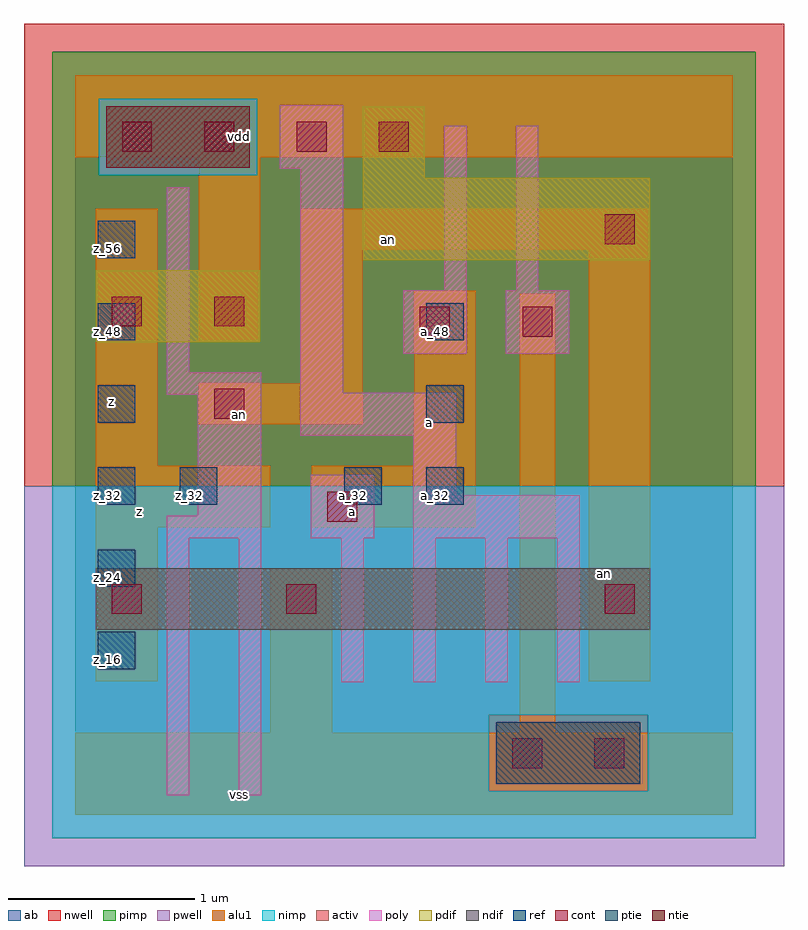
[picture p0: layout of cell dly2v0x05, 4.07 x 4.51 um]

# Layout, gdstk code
import gdstk
lib = gdstk.Library(unit=1e-6, precision=2.5e-09)
def R(c, l, rs):  # rectangles x0, y0, x1, y1
    for r in rs: c.add(gdstk.rectangle(r[:2], r[2:], *l))
def A(c, l, x, y, w, h, nx, ny, dx, dy):  # array of equal rectangles
    R(c, l, [(x+i*dx, y+j*dy, x+i*dx+w, y+j*dy+h) for i in range(nx) for j in range(ny)])
ndif = (3, 0)
pdif = (4, 0)
ntie = (5, 0)
ptie = (6, 0)
ref = (24, 0)
cont = (25, 0)
pwell = (41, 0)
nwell = (42, 0)
activ = (43, 0)
pimp = (44, 0)
nimp = (45, 0)
poly = (46, 0)
alu1 = (49, 0)
ab = (63, 0)

dly2v0x05 = lib.new_cell('dly2v0x05')
R(dly2v0x05, ndif, [(0.11,0.99,3.08,1.32)])
R(dly2v0x05, pdif, [(0.11,2.53,0.99,2.915), (1.54,2.97,3.08,3.41), (1.54,3.41,1.87,3.795)])
R(dly2v0x05, ntie, [(0.165,3.465,0.935,3.795)])
R(dly2v0x05, ptie, [(2.255,0.165,3.025,0.495)])
A(dly2v0x05, ref, 0.12, 0.78, 0.2, 0.2, 1, 6, 0, 0.44)
A(dly2v0x05, ref, 1.88, 1.66, 0.2, 0.2, 1, 3, 0, 0.44)
R(dly2v0x05, ref, [(0.56,1.66,0.76,1.86), (1.44,1.66,1.64,1.86)])
R(dly2v0x05, cont, [(2.34,0.25,2.5,0.41), (2.78,0.25,2.94,0.41), (0.195,1.075,0.355,1.235), (1.13,1.075,1.29,1.235), (2.835,1.075,2.995,1.235), (1.35,1.57,1.51,1.73), (0.745,2.12,0.905,2.28), (1.845,2.56,2.005,2.72), (2.395,2.56,2.555,2.72), (0.195,2.615,0.355,2.775), (0.745,2.615,0.905,2.775), (2.835,3.055,2.995,3.215), (0.25,3.55,0.41,3.71), (0.69,3.55,0.85,3.71), (1.185,3.55,1.345,3.71), (1.625,3.55,1.785,3.71)])
R(dly2v0x05, pwell, [(-0.275,-0.275,3.795,1.76)])
R(dly2v0x05, nwell, [(-0.275,1.76,3.795,4.235)])
R(dly2v0x05, activ, [(2.255,0.165,3.025,0.495), (0.11,0.99,3.08,1.32), (0.11,2.53,0.99,2.915), (1.54,2.97,3.08,3.41), (1.54,3.41,1.87,3.795), (0.165,3.465,0.935,3.795)])
R(dly2v0x05, pimp, [(2.215,0.125,3.065,0.535), (-0.125,1.76,3.645,3.425), (-0.125,3.425,0.125,3.835), (0.975,3.425,3.645,3.835), (-0.125,3.835,3.645,4.085)])
R(dly2v0x05, nimp, [(-0.125,-0.125,3.645,0.125), (-0.125,0.125,2.215,0.535), (3.065,0.125,3.645,0.535), (-0.125,0.535,3.645,1.76), (0.125,3.425,0.975,3.835)])
A(dly2v0x05, poly, 1.425, 0.71, 0.12, 0.77, 4, 1, 0.385, 0)
R(dly2v0x05, poly, [(0.49,0.105,0.61,1.48), (0.875,0.105,0.995,1.48), (0.49,1.48,0.995,1.6), (1.26,1.48,1.6,1.82), (1.81,1.48,2.7,1.71), (0.655,1.6,0.995,2.25), (1.81,1.71,2.04,2.03), (1.205,2.03,2.04,2.26), (0.49,2.25,0.995,2.37), (1.205,2.26,1.435,3.46), (0.49,2.37,0.61,3.36), (1.755,2.47,2.095,2.81), (2.305,2.47,2.645,2.81), (1.975,2.81,2.095,3.69), (2.36,2.81,2.48,3.69), (1.095,3.46,1.435,3.8)])
R(dly2v0x05, alu1, [(0,0,3.52,0.44), (1.045,0.44,1.375,1.32), (2.38,0.44,2.57,2.79), (0.11,0.715,0.44,1.54), (2.75,0.715,3.08,3.025), (0.11,1.54,1.045,1.87), (1.265,1.54,2.145,1.87), (0.11,1.87,0.44,3.245), (1.815,1.87,2.145,2.805), (0.66,2.09,1.54,2.31), (1.21,2.31,1.54,3.025), (0.66,2.53,0.99,3.52), (1.21,3.025,3.08,3.245), (0,3.52,3.52,3.96)])
R(dly2v0x05, ab, [(0,0,3.52,3.96)])
dly2v0x05.add(gdstk.Label('vss', (0.88,0.11), layer=49, texttype=0))
dly2v0x05.add(gdstk.Label('an', (2.8325,1.2925), layer=49, texttype=0))
dly2v0x05.add(gdstk.Label('a', (1.485,1.6225), layer=49, texttype=0))
dly2v0x05.add(gdstk.Label('z', (0.3425,1.6225), layer=49, texttype=0))
dly2v0x05.add(gdstk.Label('a', (1.8975,2.1025), layer=49, texttype=0))
dly2v0x05.add(gdstk.Label('an', (0.88,2.145), layer=49, texttype=0))
dly2v0x05.add(gdstk.Label('an', (1.6775,3.08), layer=49, texttype=0))
dly2v0x05.add(gdstk.Label('z', (0.1925,2.2125), layer=49, texttype=0))
dly2v0x05.add(gdstk.Label('vdd', (0.88,3.63), layer=49, texttype=0))
dly2v0x05.add(gdstk.Label('z_32', (0.61,1.71), layer=24, texttype=0))
dly2v0x05.add(gdstk.Label('a_32', (1.49,1.71), layer=24, texttype=0))
dly2v0x05.add(gdstk.Label('a_32', (1.93,1.71), layer=24, texttype=0))
dly2v0x05.add(gdstk.Label('a_40', (1.93,2.15), layer=24, texttype=0))
dly2v0x05.add(gdstk.Label('a_48', (1.93,2.59), layer=24, texttype=0))
dly2v0x05.add(gdstk.Label('z_16', (0.17,0.83), layer=24, texttype=0))
dly2v0x05.add(gdstk.Label('z_24', (0.17,1.27), layer=24, texttype=0))
dly2v0x05.add(gdstk.Label('z_32', (0.17,1.71), layer=24, texttype=0))
dly2v0x05.add(gdstk.Label('z_40', (0.17,2.15), layer=24, texttype=0))
dly2v0x05.add(gdstk.Label('z_48', (0.17,2.59), layer=24, texttype=0))
dly2v0x05.add(gdstk.Label('z_56', (0.17,3.03), layer=24, texttype=0))

lib.write_gds('dly2v0x05.gds')
